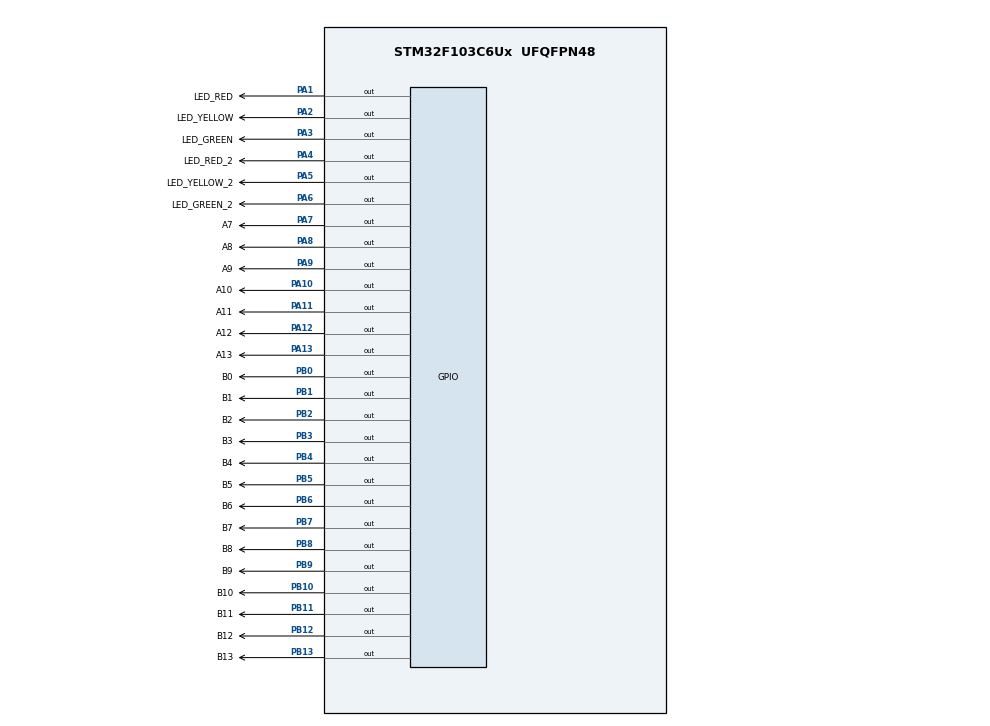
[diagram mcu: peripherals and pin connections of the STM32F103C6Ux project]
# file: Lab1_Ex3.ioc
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Mcu.Family=STM32F1
Mcu.Name=STM32F103C6Ux
Mcu.Package=UFQFPN48
NVIC.PriorityGroup=NVIC_PRIORITYGROUP_4
PA1.GPIO_Label=LED_RED
PA1.Signal=GPIO_Output
PA10.GPIO_Label=A10
PA10.Signal=GPIO_Output
PA11.GPIO_Label=A11
PA11.Signal=GPIO_Output
PA12.GPIO_Label=A12
PA12.Signal=GPIO_Output
PA13.GPIO_Label=A13
PA13.Signal=GPIO_Output
PA2.GPIO_Label=LED_YELLOW
PA2.Signal=GPIO_Output
PA3.GPIO_Label=LED_GREEN
PA3.Signal=GPIO_Output
PA4.GPIO_Label=LED_RED_2
PA4.Signal=GPIO_Output
PA5.GPIO_Label=LED_YELLOW_2
PA5.Signal=GPIO_Output
PA6.GPIO_Label=LED_GREEN_2
PA6.Signal=GPIO_Output
PA7.GPIO_Label=A7
PA7.Signal=GPIO_Output
PA8.GPIO_Label=A8
PA8.Signal=GPIO_Output
PA9.GPIO_Label=A9
PA9.Signal=GPIO_Output
PB0.GPIO_Label=B0
PB0.Signal=GPIO_Output
PB1.GPIO_Label=B1
PB1.Signal=GPIO_Output
PB10.GPIO_Label=B10
PB10.Signal=GPIO_Output
PB11.GPIO_Label=B11
PB11.Signal=GPIO_Output
PB12.GPIO_Label=B12
PB12.Signal=GPIO_Output
PB13.GPIO_Label=B13
PB13.Signal=GPIO_Output
PB2.GPIO_Label=B2
PB2.Signal=GPIO_Output
PB3.GPIO_Label=B3
PB3.Signal=GPIO_Output
PB4.GPIO_Label=B4
PB4.Signal=GPIO_Output
PB5.GPIO_Label=B5
PB5.Signal=GPIO_Output
PB6.GPIO_Label=B6
PB6.Signal=GPIO_Output
PB7.GPIO_Label=B7
PB7.Signal=GPIO_Output
PB8.GPIO_Label=B8
PB8.Signal=GPIO_Output
PB9.GPIO_Label=B9
PB9.Signal=GPIO_Output
ProjectManager.HeapSize=0x200
ProjectManager.StackSize=0x400
ProjectManager.TargetToolchain=STM32CubeIDE
RCC.APB1Freq_Value=8000000
RCC.APB2Freq_Value=8000000
VP_SYS_VS_ND.Mode=No_Debug
board=custom

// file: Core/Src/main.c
/* USER CODE BEGIN Header */
/**
  ******************************************************************************
  * @file           : main.c
  * @brief          : Main program body
  ******************************************************************************
  * @attention
  *
  * <h2><center>&copy; Copyright (c) 2025 STMicroelectronics.
  * All rights reserved.</center></h2>
  *
  * This software component is licensed by ST under BSD 3-Clause license,
  * the "License"; You may not use this file except in compliance with the
  * License. You may obtain a copy of the License at:
  *                        opensource.org/licenses/BSD-3-Clause
  *
  ******************************************************************************
  */
/* USER CODE END Header */
#include "main.h"

/* USER CODE BEGIN PV */
	int count = 0;
	int re_count1 = 5;
	int re_count2 = 3;
/* USER CODE END PV */

void SystemClock_Config(void);
static void MX_GPIO_Init(void);
/* USER CODE BEGIN PFP */
	void display7SEG(int num);
	void display7SEG_lane1(int num);
	void display7SEG_lane2(int num);
/* USER CODE END PFP */

int main(void)
{

  /* MCU Configuration--------------------------------------------------------*/

  /* Reset of all peripherals, Initializes the Flash interface and the Systick. */
  HAL_Init();

  /* Configure the system clock */
  SystemClock_Config();

  /* Initialize all configured peripherals */
  MX_GPIO_Init();
  /* USER CODE BEGIN 2 */
  	  count = 0;
  	  re_count1 = 5;
  	  re_count2 = 3;

  	  //lane 1
  	  HAL_GPIO_WritePin(LED_RED_GPIO_Port, LED_RED_Pin, RESET);
      HAL_GPIO_WritePin(LED_GREEN_GPIO_Port, LED_GREEN_Pin, SET);
   	  HAL_GPIO_WritePin(LED_YELLOW_GPIO_Port, LED_YELLOW_Pin, SET);

   	  //lane 2
   	  HAL_GPIO_WritePin(LED_RED_2_GPIO_Port, LED_RED_2_Pin, SET);
   	  HAL_GPIO_WritePin(LED_GREEN_2_GPIO_Port, LED_GREEN_2_Pin, RESET);
   	  HAL_GPIO_WritePin(LED_YELLOW_2_GPIO_Port, LED_YELLOW_2_Pin, SET);
  /* USER CODE END 2 */

  /* Infinite loop */
  /* USER CODE BEGIN WHILE */
  while (1)
  {
	  //lane 1

	  //tat do + bat xanh
	  if (count == 5) {
		  HAL_GPIO_WritePin(LED_RED_GPIO_Port, LED_RED_Pin, SET);
		  HAL_GPIO_WritePin(LED_GREEN_GPIO_Port, LED_GREEN_Pin, RESET);

		  re_count1 = 3;
	  }

	  //tat xanh + bat vang
	  if (count == 8) {
		  HAL_GPIO_WritePin(LED_GREEN_GPIO_Port, LED_GREEN_Pin, SET);
		  HAL_GPIO_WritePin(LED_YELLOW_GPIO_Port, LED_YELLOW_Pin, RESET);

		  re_count1 = 2;
	  }

	  //tat vang + bat do (lane1) + tat do + bat xanh (lane2) + reset
	  if (count == 10) {
		  HAL_GPIO_WritePin(LED_YELLOW_GPIO_Port, LED_YELLOW_Pin, SET);
		  HAL_GPIO_WritePin(LED_RED_GPIO_Port, LED_RED_Pin, RESET);

		  HAL_GPIO_WritePin(LED_RED_2_GPIO_Port, LED_RED_2_Pin, SET);
		  HAL_GPIO_WritePin(LED_GREEN_2_GPIO_Port, LED_GREEN_2_Pin, RESET);

		  count = 0;
		  re_count1 = 5;
		  re_count2 = 3;
	  }

	  //lane 2

	  //tat xanh + bat vang
	  if (count == 3) {
		  HAL_GPIO_WritePin(LED_GREEN_2_GPIO_Port, LED_GREEN_2_Pin, SET);
		  HAL_GPIO_WritePin(LED_YELLOW_2_GPIO_Port, LED_YELLOW_2_Pin, RESET);

		  re_count2 = 2;
	  }

	  //tat vang + bat do
	  if (count == 5) {
		  HAL_GPIO_WritePin(LED_YELLOW_2_GPIO_Port, LED_YELLOW_2_Pin, SET);
		  HAL_GPIO_WritePin(LED_RED_2_GPIO_Port, LED_RED_2_Pin, RESET);

		  re_count2 = 5;
	  }

	  //dem nguoc thoi gian

	  display7SEG_lane1(re_count1);
	  re_count1--;

	  display7SEG_lane2(re_count2);
	  re_count2--;

	  //7 segment display
	  display7SEG(count);
	  count++;

	  HAL_Delay(1000);

    /* USER CODE END WHILE */

  }
}

void SystemClock_Config(void)
{
  RCC_OscInitTypeDef RCC_OscInitStruct = {0};
  RCC_ClkInitTypeDef RCC_ClkInitStruct = {0};

  /** Initializes the RCC Oscillators according to the specified parameters
  * in the RCC_OscInitTypeDef structure.
  */
  RCC_OscInitStruct.OscillatorType = RCC_OSCILLATORTYPE_HSI;
  RCC_OscInitStruct.HSIState = RCC_HSI_ON;
  RCC_OscInitStruct.HSICalibrationValue = RCC_HSICALIBRATION_DEFAULT;
  RCC_OscInitStruct.PLL.PLLState = RCC_PLL_NONE;
  if (HAL_RCC_OscConfig(&RCC_OscInitStruct) != HAL_OK)
  {
    Error_Handler();
  }
  /** Initializes the CPU, AHB and APB buses clocks
  */
  RCC_ClkInitStruct.ClockType = RCC_CLOCKTYPE_HCLK|RCC_CLOCKTYPE_SYSCLK
                              |RCC_CLOCKTYPE_PCLK1|RCC_CLOCKTYPE_PCLK2;
  RCC_ClkInitStruct.SYSCLKSource = RCC_SYSCLKSOURCE_HSI;
  RCC_ClkInitStruct.AHBCLKDivider = RCC_SYSCLK_DIV1;
  RCC_ClkInitStruct.APB1CLKDivider = RCC_HCLK_DIV1;
  RCC_ClkInitStruct.APB2CLKDivider = RCC_HCLK_DIV1;

  if (HAL_RCC_ClockConfig(&RCC_ClkInitStruct, FLASH_LATENCY_0) != HAL_OK)
  {
    Error_Handler();
  }
}

static void MX_GPIO_Init(void)
{
  GPIO_InitTypeDef GPIO_InitStruct = {0};

  /* GPIO Ports Clock Enable */
  __HAL_RCC_GPIOA_CLK_ENABLE();
  __HAL_RCC_GPIOB_CLK_ENABLE();

  /*Configure GPIO pin Output Level */
  HAL_GPIO_WritePin(GPIOA, LED_RED_Pin|LED_YELLOW_Pin|LED_GREEN_Pin|LED_RED_2_Pin
                          |LED_YELLOW_2_Pin|LED_GREEN_2_Pin|A7_Pin|A8_Pin
                          |A9_Pin|A10_Pin|A11_Pin|A12_Pin
                          |A13_Pin, GPIO_PIN_RESET);

  /*Configure GPIO pin Output Level */
  HAL_GPIO_WritePin(GPIOB, B0_Pin|B1_Pin|B2_Pin|B10_Pin
                          |B11_Pin|B12_Pin|B13_Pin|B3_Pin
                          |B4_Pin|B5_Pin|B6_Pin|B7_Pin
                          |B8_Pin|B9_Pin, GPIO_PIN_RESET);

  /*Configure GPIO pins : LED_RED_Pin LED_YELLOW_Pin LED_GREEN_Pin LED_RED_2_Pin
                           LED_YELLOW_2_Pin LED_GREEN_2_Pin A7_Pin A8_Pin
                           A9_Pin A10_Pin A11_Pin A12_Pin
                           A13_Pin */
  GPIO_InitStruct.Pin = LED_RED_Pin|LED_YELLOW_Pin|LED_GREEN_Pin|LED_RED_2_Pin
                          |LED_YELLOW_2_Pin|LED_GREEN_2_Pin|A7_Pin|A8_Pin
                          |A9_Pin|A10_Pin|A11_Pin|A12_Pin
                          |A13_Pin;
  GPIO_InitStruct.Mode = GPIO_MODE_OUTPUT_PP;
  GPIO_InitStruct.Pull = GPIO_NOPULL;
  GPIO_InitStruct.Speed = GPIO_SPEED_FREQ_LOW;
  HAL_GPIO_Init(GPIOA, &GPIO_InitStruct);

  /*Configure GPIO pins : B0_Pin B1_Pin B2_Pin B10_Pin
                           B11_Pin B12_Pin B13_Pin B3_Pin
                           B4_Pin B5_Pin B6_Pin B7_Pin
                           B8_Pin B9_Pin */
  GPIO_InitStruct.Pin = B0_Pin|B1_Pin|B2_Pin|B10_Pin
                          |B11_Pin|B12_Pin|B13_Pin|B3_Pin
                          |B4_Pin|B5_Pin|B6_Pin|B7_Pin
                          |B8_Pin|B9_Pin;
  GPIO_InitStruct.Mode = GPIO_MODE_OUTPUT_PP;
  GPIO_InitStruct.Pull = GPIO_NOPULL;
  GPIO_InitStruct.Speed = GPIO_SPEED_FREQ_LOW;
  HAL_GPIO_Init(GPIOB, &GPIO_InitStruct);

}

/* USER CODE BEGIN 4 */
	void display7SEG(int num) {
		if (num == 0) {
			HAL_GPIO_WritePin(B0_GPIO_Port, B0_Pin, RESET);
			HAL_GPIO_WritePin(B1_GPIO_Port, B1_Pin, RESET);
			HAL_GPIO_WritePin(B2_GPIO_Port, B2_Pin, RESET);
			HAL_GPIO_WritePin(B3_GPIO_Port, B3_Pin, RESET);
			HAL_GPIO_WritePin(B4_GPIO_Port, B4_Pin, RESET);
			HAL_GPIO_WritePin(B5_GPIO_Port, B5_Pin, RESET);
			HAL_GPIO_WritePin(B6_GPIO_Port, B6_Pin, SET);
		}

		if (num == 1) {
			HAL_GPIO_WritePin(B0_GPIO_Port, B0_Pin, SET);
			HAL_GPIO_WritePin(B1_GPIO_Port, B1_Pin, RESET);
			HAL_GPIO_WritePin(B2_GPIO_Port, B2_Pin, RESET);
			HAL_GPIO_WritePin(B3_GPIO_Port, B3_Pin, SET);
			HAL_GPIO_WritePin(B4_GPIO_Port, B4_Pin, SET);
			HAL_GPIO_WritePin(B5_GPIO_Port, B5_Pin, SET);
			HAL_GPIO_WritePin(B6_GPIO_Port, B6_Pin, SET);
		}

		if (num == 2) {
			HAL_GPIO_WritePin(B0_GPIO_Port, B0_Pin, RESET);
			HAL_GPIO_WritePin(B1_GPIO_Port, B1_Pin, RESET);
			HAL_GPIO_WritePin(B2_GPIO_Port, B2_Pin, SET);
			HAL_GPIO_WritePin(B3_GPIO_Port, B3_Pin, RESET);
			HAL_GPIO_WritePin(B4_GPIO_Port, B4_Pin, RESET);
			HAL_GPIO_WritePin(B5_GPIO_Port, B5_Pin, SET);
			HAL_GPIO_WritePin(B6_GPIO_Port, B6_Pin, RESET);
		}

		if (num == 3) {
			HAL_GPIO_WritePin(B0_GPIO_Port, B0_Pin, RESET);
			HAL_GPIO_WritePin(B1_GPIO_Port, B1_Pin, RESET);
			HAL_GPIO_WritePin(B2_GPIO_Port, B2_Pin, RESET);
			HAL_GPIO_WritePin(B3_GPIO_Port, B3_Pin, RESET);
			HAL_GPIO_WritePin(B4_GPIO_Port, B4_Pin, SET);
			HAL_GPIO_WritePin(B5_GPIO_Port, B5_Pin, SET);
			HAL_GPIO_WritePin(B6_GPIO_Port, B6_Pin, RESET);
		}

		if (num == 4) {
			HAL_GPIO_WritePin(B0_GPIO_Port, B0_Pin, SET);
			HAL_GPIO_WritePin(B1_GPIO_Port, B1_Pin, RESET);
			HAL_GPIO_WritePin(B2_GPIO_Port, B2_Pin, RESET);
			HAL_GPIO_WritePin(B3_GPIO_Port, B3_Pin, SET);
			HAL_GPIO_WritePin(B4_GPIO_Port, B4_Pin, SET);
			HAL_GPIO_WritePin(B5_GPIO_Port, B5_Pin, RESET);
			HAL_GPIO_WritePin(B6_GPIO_Port, B6_Pin, RESET);
		}

		if (num == 5) {
			HAL_GPIO_WritePin(B0_GPIO_Port, B0_Pin, RESET);
			HAL_GPIO_WritePin(B1_GPIO_Port, B1_Pin, SET);
			HAL_GPIO_WritePin(B2_GPIO_Port, B2_Pin, RESET);
			HAL_GPIO_WritePin(B3_GPIO_Port, B3_Pin, RESET);
			HAL_GPIO_WritePin(B4_GPIO_Port, B4_Pin, SET);
			HAL_GPIO_WritePin(B5_GPIO_Port, B5_Pin, RESET);
			HAL_GPIO_WritePin(B6_GPIO_Port, B6_Pin, RESET);
		}

		if (num == 6) {
			HAL_GPIO_WritePin(B0_GPIO_Port, B0_Pin, RESET);
			HAL_GPIO_WritePin(B1_GPIO_Port, B1_Pin, SET);
			HAL_GPIO_WritePin(B2_GPIO_Port, B2_Pin, RESET);
			HAL_GPIO_WritePin(B3_GPIO_Port, B3_Pin, RESET);
			HAL_GPIO_WritePin(B4_GPIO_Port, B4_Pin, RESET);
			HAL_GPIO_WritePin(B5_GPIO_Port, B5_Pin, RESET);
			HAL_GPIO_WritePin(B6_GPIO_Port, B6_Pin, RESET);
		}

		if (num == 7) {
			HAL_GPIO_WritePin(B0_GPIO_Port, B0_Pin, RESET);
			HAL_GPIO_WritePin(B1_GPIO_Port, B1_Pin, RESET);
			HAL_GPIO_WritePin(B2_GPIO_Port, B2_Pin, RESET);
			HAL_GPIO_WritePin(B3_GPIO_Port, B3_Pin, SET);
			HAL_GPIO_WritePin(B4_GPIO_Port, B4_Pin, SET);
			HAL_GPIO_WritePin(B5_GPIO_Port, B5_Pin, SET);
			HAL_GPIO_WritePin(B6_GPIO_Port, B6_Pin, SET);
		}

		if (num == 8) {
			HAL_GPIO_WritePin(B0_GPIO_Port, B0_Pin, RESET);
			HAL_GPIO_WritePin(B1_GPIO_Port, B1_Pin, RESET);
			HAL_GPIO_WritePin(B2_GPIO_Port, B2_Pin, RESET);
			HAL_GPIO_WritePin(B3_GPIO_Port, B3_Pin, RESET);
			HAL_GPIO_WritePin(B4_GPIO_Port, B4_Pin, RESET);
			HAL_GPIO_WritePin(B5_GPIO_Port, B5_Pin, RESET);
			HAL_GPIO_WritePin(B6_GPIO_Port, B6_Pin, RESET);
		}

		if (num == 9) {
			HAL_GPIO_WritePin(B0_GPIO_Port, B0_Pin, RESET);
			HAL_GPIO_WritePin(B1_GPIO_Port, B1_Pin, RESET);
			HAL_GPIO_WritePin(B2_GPIO_Port, B2_Pin, RESET);
			HAL_GPIO_WritePin(B3_GPIO_Port, B3_Pin, RESET);
			HAL_GPIO_WritePin(B4_GPIO_Port, B4_Pin, SET);
			HAL_GPIO_WritePin(B5_GPIO_Port, B5_Pin, RESET);
			HAL_GPIO_WritePin(B6_GPIO_Port, B6_Pin, RESET);
		}
	}

	void display7SEG_lane1(int num) {
			if (num == 0) {
				HAL_GPIO_WritePin(A7_GPIO_Port, A7_Pin, RESET);
				HAL_GPIO_WritePin(A8_GPIO_Port, A8_Pin, RESET);
				HAL_GPIO_WritePin(A9_GPIO_Port, A9_Pin, RESET);
				HAL_GPIO_WritePin(A10_GPIO_Port, A10_Pin, RESET);
				HAL_GPIO_WritePin(A11_GPIO_Port, A11_Pin, RESET);
				HAL_GPIO_WritePin(A12_GPIO_Port, A12_Pin, RESET);
				HAL_GPIO_WritePin(A13_GPIO_Port, A13_Pin, SET);
			}

			if (num == 1) {
				HAL_GPIO_WritePin(A7_GPIO_Port, A7_Pin, SET);
				HAL_GPIO_WritePin(A8_GPIO_Port, A8_Pin, RESET);
				HAL_GPIO_WritePin(A9_GPIO_Port, A9_Pin, RESET);
				HAL_GPIO_WritePin(A10_GPIO_Port, A10_Pin, SET);
				HAL_GPIO_WritePin(A11_GPIO_Port, A11_Pin, SET);
				HAL_GPIO_WritePin(A12_GPIO_Port, A12_Pin, SET);
				HAL_GPIO_WritePin(A13_GPIO_Port, A13_Pin, SET);
			}

			if (num == 2) {
				HAL_GPIO_WritePin(A7_GPIO_Port, A7_Pin, RESET);
				HAL_GPIO_WritePin(A8_GPIO_Port, A8_Pin, RESET);
				HAL_GPIO_WritePin(A9_GPIO_Port, A9_Pin, SET);
				HAL_GPIO_WritePin(A10_GPIO_Port, A10_Pin, RESET);
				HAL_GPIO_WritePin(A11_GPIO_Port, A11_Pin, RESET);
				HAL_GPIO_WritePin(A12_GPIO_Port, A12_Pin, SET);
				HAL_GPIO_WritePin(A13_GPIO_Port, A13_Pin, RESET);
			}

			if (num == 3) {
				HAL_GPIO_WritePin(A7_GPIO_Port, A7_Pin, RESET);
				HAL_GPIO_WritePin(A8_GPIO_Port, A8_Pin, RESET);
				HAL_GPIO_WritePin(A9_GPIO_Port, A9_Pin, RESET);
				HAL_GPIO_WritePin(A10_GPIO_Port, A10_Pin, RESET);
				HAL_GPIO_WritePin(A11_GPIO_Port, A11_Pin, SET);
				HAL_GPIO_WritePin(A12_GPIO_Port, A12_Pin, SET);
				HAL_GPIO_WritePin(A13_GPIO_Port, A13_Pin, RESET);
			}

			if (num == 4) {
				HAL_GPIO_WritePin(A7_GPIO_Port, A7_Pin, SET);
				HAL_GPIO_WritePin(A8_GPIO_Port, A8_Pin, RESET);
				HAL_GPIO_WritePin(A9_GPIO_Port, A9_Pin, RESET);
				HAL_GPIO_WritePin(A10_GPIO_Port, A10_Pin, SET);
				HAL_GPIO_WritePin(A11_GPIO_Port, A11_Pin, SET);
				HAL_GPIO_WritePin(A12_GPIO_Port, A12_Pin, RESET);
				HAL_GPIO_WritePin(A13_GPIO_Port, A13_Pin, RESET);
			}

			if (num == 5) {
				HAL_GPIO_WritePin(A7_GPIO_Port, A7_Pin, RESET);
				HAL_GPIO_WritePin(A8_GPIO_Port, A8_Pin, SET);
				HAL_GPIO_WritePin(A9_GPIO_Port, A9_Pin, RESET);
				HAL_GPIO_WritePin(A10_GPIO_Port, A10_Pin, RESET);
				HAL_GPIO_WritePin(A11_GPIO_Port, A11_Pin, SET);
				HAL_GPIO_WritePin(A12_GPIO_Port, A12_Pin, RESET);
				HAL_GPIO_WritePin(A13_GPIO_Port, A13_Pin, RESET);
			}

			if (num == 6) {
				HAL_GPIO_WritePin(A7_GPIO_Port, A7_Pin, RESET);
				HAL_GPIO_WritePin(A8_GPIO_Port, A8_Pin, SET);
				HAL_GPIO_WritePin(A9_GPIO_Port, A9_Pin, RESET);
				HAL_GPIO_WritePin(A10_GPIO_Port, A10_Pin, RESET);
				HAL_GPIO_WritePin(A11_GPIO_Port, A11_Pin, RESET);
				HAL_GPIO_WritePin(A12_GPIO_Port, A12_Pin, RESET);
				HAL_GPIO_WritePin(A13_GPIO_Port, A13_Pin, RESET);
			}

			if (num == 7) {
				HAL_GPIO_WritePin(A7_GPIO_Port, A7_Pin, RESET);
				HAL_GPIO_WritePin(A8_GPIO_Port, A8_Pin, RESET);
				HAL_GPIO_WritePin(A9_GPIO_Port, A9_Pin, RESET);
				HAL_GPIO_WritePin(A10_GPIO_Port, A10_Pin, SET);
				HAL_GPIO_WritePin(A11_GPIO_Port, A11_Pin, SET);
				HAL_GPIO_WritePin(A12_GPIO_Port, A12_Pin, SET);
				HAL_GPIO_WritePin(A13_GPIO_Port, A13_Pin, SET);
			}

			if (num == 8) {
				HAL_GPIO_WritePin(A7_GPIO_Port, A7_Pin, RESET);
				HAL_GPIO_WritePin(A8_GPIO_Port, A8_Pin, RESET);
				HAL_GPIO_WritePin(A9_GPIO_Port, A9_Pin, RESET);
				HAL_GPIO_WritePin(A10_GPIO_Port, A10_Pin, RESET);
				HAL_GPIO_WritePin(A11_GPIO_Port, A11_Pin, RESET);
				HAL_GPIO_WritePin(A12_GPIO_Port, A12_Pin, RESET);
				HAL_GPIO_WritePin(A13_GPIO_Port, A13_Pin, RESET);
			}

			if (num == 9) {
				HAL_GPIO_WritePin(A7_GPIO_Port, A7_Pin, RESET);
				HAL_GPIO_WritePin(A8_GPIO_Port, A8_Pin, RESET);
				HAL_GPIO_WritePin(A9_GPIO_Port, A9_Pin, RESET);
				HAL_GPIO_WritePin(A10_GPIO_Port, A10_Pin, RESET);
				HAL_GPIO_WritePin(A11_GPIO_Port, A11_Pin, SET);
				HAL_GPIO_WritePin(A12_GPIO_Port, A12_Pin, RESET);
				HAL_GPIO_WritePin(A13_GPIO_Port, A13_Pin, RESET);
			}
		}

	void display7SEG_lane2(int num) {
				if (num == 0) {
					HAL_GPIO_WritePin(B7_GPIO_Port, B7_Pin, RESET);
					HAL_GPIO_WritePin(B8_GPIO_Port, B8_Pin, RESET);
					HAL_GPIO_WritePin(B9_GPIO_Port, B9_Pin, RESET);
					HAL_GPIO_WritePin(B10_GPIO_Port, B10_Pin, RESET);
					HAL_GPIO_WritePin(B11_GPIO_Port, B11_Pin, RESET);
					HAL_GPIO_WritePin(B12_GPIO_Port, B12_Pin, RESET);
					HAL_GPIO_WritePin(B13_GPIO_Port, B13_Pin, SET);
				}

				if (num == 1) {
					HAL_GPIO_WritePin(B7_GPIO_Port, B7_Pin, SET);
					HAL_GPIO_WritePin(B8_GPIO_Port, B8_Pin, RESET);
					HAL_GPIO_WritePin(B9_GPIO_Port, B9_Pin, RESET);
					HAL_GPIO_WritePin(B10_GPIO_Port, B10_Pin, SET);
					HAL_GPIO_WritePin(B11_GPIO_Port, B11_Pin, SET);
					HAL_GPIO_WritePin(B12_GPIO_Port, B12_Pin, SET);
					HAL_GPIO_WritePin(B13_GPIO_Port, B13_Pin, SET);
				}

				if (num == 2) {
					HAL_GPIO_WritePin(B7_GPIO_Port, B7_Pin, RESET);
					HAL_GPIO_WritePin(B8_GPIO_Port, B8_Pin, RESET);
					HAL_GPIO_WritePin(B9_GPIO_Port, B9_Pin, SET);
					HAL_GPIO_WritePin(B10_GPIO_Port, B10_Pin, RESET);
					HAL_GPIO_WritePin(B11_GPIO_Port, B11_Pin, RESET);
					HAL_GPIO_WritePin(B12_GPIO_Port, B12_Pin, SET);
					HAL_GPIO_WritePin(B13_GPIO_Port, B13_Pin, RESET);
				}

				if (num == 3) {
					HAL_GPIO_WritePin(B7_GPIO_Port, B7_Pin, RESET);
					HAL_GPIO_WritePin(B8_GPIO_Port, B8_Pin, RESET);
					HAL_GPIO_WritePin(B9_GPIO_Port, B9_Pin, RESET);
					HAL_GPIO_WritePin(B10_GPIO_Port, B10_Pin, RESET);
					HAL_GPIO_WritePin(B11_GPIO_Port, B11_Pin, SET);
					HAL_GPIO_WritePin(B12_GPIO_Port, B12_Pin, SET);
					HAL_GPIO_WritePin(B13_GPIO_Port, B13_Pin, RESET);
				}

				if (num == 4) {
					HAL_GPIO_WritePin(B7_GPIO_Port, B7_Pin, SET);
					HAL_GPIO_WritePin(B8_GPIO_Port, B8_Pin, RESET);
					HAL_GPIO_WritePin(B9_GPIO_Port, B9_Pin, RESET);
					HAL_GPIO_WritePin(B10_GPIO_Port, B10_Pin, SET);
					HAL_GPIO_WritePin(B11_GPIO_Port, B11_Pin, SET);
					HAL_GPIO_WritePin(B12_GPIO_Port, B12_Pin, RESET);
					HAL_GPIO_WritePin(B13_GPIO_Port, B13_Pin, RESET);
				}

				if (num == 5) {
					HAL_GPIO_WritePin(B7_GPIO_Port, B7_Pin, RESET);
					HAL_GPIO_WritePin(B8_GPIO_Port, B8_Pin, SET);
					HAL_GPIO_WritePin(B9_GPIO_Port, B9_Pin, RESET);
					HAL_GPIO_WritePin(B10_GPIO_Port, B10_Pin, RESET);
					HAL_GPIO_WritePin(B11_GPIO_Port, B11_Pin, SET);
					HAL_GPIO_WritePin(B12_GPIO_Port, B12_Pin, RESET);
					HAL_GPIO_WritePin(B13_GPIO_Port, B13_Pin, RESET);
				}

				if (num == 6) {
					HAL_GPIO_WritePin(B7_GPIO_Port, B7_Pin, RESET);
					HAL_GPIO_WritePin(B8_GPIO_Port, B8_Pin, SET);
					HAL_GPIO_WritePin(B9_GPIO_Port, B9_Pin, RESET);
					HAL_GPIO_WritePin(B10_GPIO_Port, B10_Pin, RESET);
					HAL_GPIO_WritePin(B11_GPIO_Port, B11_Pin, RESET);
					HAL_GPIO_WritePin(B12_GPIO_Port, B12_Pin, RESET);
					HAL_GPIO_WritePin(B13_GPIO_Port, B13_Pin, RESET);
				}

				if (num == 7) {
					HAL_GPIO_WritePin(B7_GPIO_Port, B7_Pin, RESET);
					HAL_GPIO_WritePin(B8_GPIO_Port, B8_Pin, RESET);
					HAL_GPIO_WritePin(B9_GPIO_Port, B9_Pin, RESET);
					HAL_GPIO_WritePin(B10_GPIO_Port, B10_Pin, SET);
					HAL_GPIO_WritePin(B11_GPIO_Port, B11_Pin, SET);
					HAL_GPIO_WritePin(B12_GPIO_Port, B12_Pin, SET);
					HAL_GPIO_WritePin(B13_GPIO_Port, B13_Pin, SET);
				}

				if (num == 8) {
					HAL_GPIO_WritePin(B7_GPIO_Port, B7_Pin, RESET);
					HAL_GPIO_WritePin(B8_GPIO_Port, B8_Pin, RESET);
					HAL_GPIO_WritePin(B9_GPIO_Port, B9_Pin, RESET);
					HAL_GPIO_WritePin(B10_GPIO_Port, B10_Pin, RESET);
					HAL_GPIO_WritePin(B11_GPIO_Port, B11_Pin, RESET);
					HAL_GPIO_WritePin(B12_GPIO_Port, B12_Pin, RESET);
					HAL_GPIO_WritePin(B13_GPIO_Port, B13_Pin, RESET);
				}

				if (num == 9) {
					HAL_GPIO_WritePin(B7_GPIO_Port, B7_Pin, RESET);
					HAL_GPIO_WritePin(B8_GPIO_Port, B8_Pin, RESET);
					HAL_GPIO_WritePin(B9_GPIO_Port, B9_Pin, RESET);
					HAL_GPIO_WritePin(B10_GPIO_Port, B10_Pin, RESET);
					HAL_GPIO_WritePin(B11_GPIO_Port, B11_Pin, SET);
					HAL_GPIO_WritePin(B12_GPIO_Port, B12_Pin, RESET);
					HAL_GPIO_WritePin(B13_GPIO_Port, B13_Pin, RESET);
				}
			}
/* USER CODE END 4 */

void Error_Handler(void)
{
  __disable_irq();
  while (1)
  {
  }
}

/************************ (C) COPYRIGHT STMicroelectronics *****END OF FILE****/
